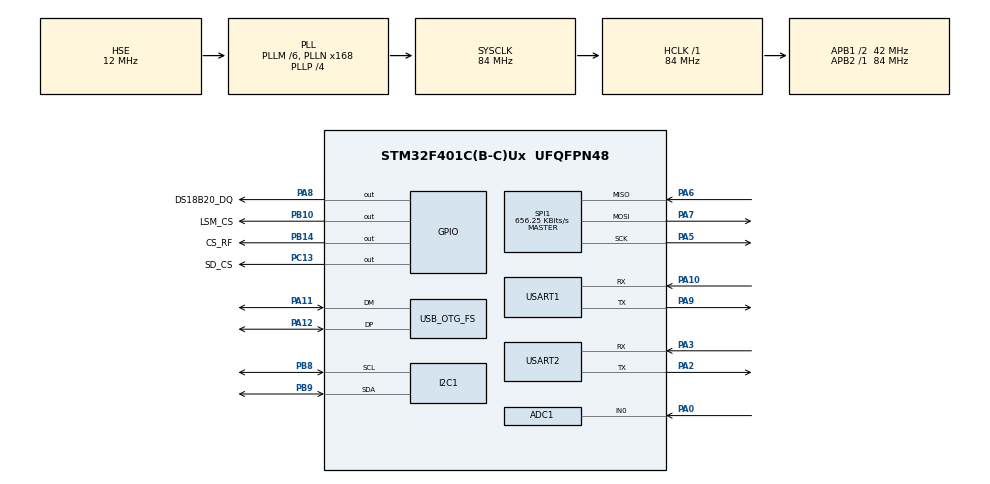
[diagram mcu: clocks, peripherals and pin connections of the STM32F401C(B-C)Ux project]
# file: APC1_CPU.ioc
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ADC1.Channel-0\#ChannelRegularConversion=ADC_CHANNEL_0
ADC1.ContinuousConvMode=DISABLE
ADC1.NbrOfConversionFlag=1
ADC1.Rank-0\#ChannelRegularConversion=1
ADC1.SamplingTime-0\#ChannelRegularConversion=ADC_SAMPLETIME_3CYCLES
ADC1.ScanConvMode=DISABLE
ADC1.master=1
FATFS._MAX_SS=4096
FATFS._USE_LFN=0
FREERTOS.Tasks01=defaultTask,24,128,StartDefaultTask,Default,NULL,Dynamic,NULL,NULL
FREERTOS.configUSE_NEWLIB_REENTRANT=1
Mcu.Family=STM32F4
Mcu.Name=STM32F401C(B-C)Ux
Mcu.Package=UFQFPN48
NVIC.OTG_FS_IRQn=true\:5\:0\:false\:false\:true\:true\:false\:true\:true
NVIC.PriorityGroup=NVIC_PRIORITYGROUP_4
NVIC.TIM1_UP_TIM10_IRQn=true\:15\:0\:false\:false\:true\:false\:false\:true\:true
NVIC.TimeBase=TIM1_UP_TIM10_IRQn
NVIC.TimeBaseIP=TIM10
PA0-WKUP.Signal=ADCx_IN0
PA10.Mode=Asynchronous
PA10.Signal=USART1_RX
PA11.Mode=Device_Only
PA11.Signal=USB_OTG_FS_DM
PA12.Mode=Device_Only
PA12.Signal=USB_OTG_FS_DP
PA13.Mode=Serial_Wire
PA13.Signal=SYS_JTMS-SWDIO
PA14.Mode=Serial_Wire
PA14.Signal=SYS_JTCK-SWCLK
PA2.Mode=Asynchronous
PA2.Signal=USART2_TX
PA3.Mode=Asynchronous
PA3.Signal=USART2_RX
PA5.Mode=Full_Duplex_Master
PA5.Signal=SPI1_SCK
PA6.Mode=Full_Duplex_Master
PA6.Signal=SPI1_MISO
PA7.Mode=Full_Duplex_Master
PA7.Signal=SPI1_MOSI
PA8.GPIO_Label=DS18B20_DQ
PA8.GPIO_ModeDefaultOutputPP=GPIO_MODE_OUTPUT_OD
PA8.GPIO_PuPd=GPIO_PULLUP
PA8.Signal=GPIO_Output
PA9.Mode=Asynchronous
PA9.Signal=USART1_TX
PB10.GPIO_Label=LSM_CS
PB10.GPIO_ModeDefaultOutputPP=GPIO_MODE_OUTPUT_OD
PB10.GPIO_PuPd=GPIO_PULLUP
PB10.PinState=GPIO_PIN_SET
PB10.Signal=GPIO_Output
PB14.GPIO_Label=CS_RF
PB14.GPIO_ModeDefaultOutputPP=GPIO_MODE_OUTPUT_OD
PB14.GPIO_PuPd=GPIO_PULLUP
PB14.PinState=GPIO_PIN_SET
PB14.Signal=GPIO_Output
PB8.GPIO_Pu=GPIO_PULLUP
PB8.Mode=I2C
PB8.Signal=I2C1_SCL
PB9.GPIO_Pu=GPIO_PULLUP
PB9.Mode=I2C
PB9.Signal=I2C1_SDA
PC13-ANTI_TAMP.GPIO_Label=SD_CS
PC13-ANTI_TAMP.Signal=GPIO_Output
PH0\ -\ OSC_IN.Mode=HSE-External-Oscillator
PH0\ -\ OSC_IN.Signal=RCC_OSC_IN
PH1\ -\ OSC_OUT.Mode=HSE-External-Oscillator
PH1\ -\ OSC_OUT.Signal=RCC_OSC_OUT
ProjectManager.HeapSize=0x200
ProjectManager.StackSize=0x400
ProjectManager.TargetToolchain=STM32CubeIDE
RCC.48MHZClocksFreq_Value=48000000
RCC.AHBFreq_Value=84000000
RCC.APB1CLKDivider=RCC_HCLK_DIV2
RCC.APB1Freq_Value=42000000
RCC.APB1TimFreq_Value=84000000
RCC.APB2Freq_Value=84000000
RCC.APB2TimFreq_Value=84000000
RCC.CortexFreq_Value=84000000
RCC.HCLKFreq_Value=84000000
RCC.HSE_VALUE=12000000
RCC.HSI_VALUE=16000000
RCC.LSE_VALUE=32768
RCC.PLLM=6
RCC.PLLN=168
RCC.PLLP=RCC_PLLP_DIV4
RCC.PLLQ=7
RCC.SYSCLKFreq_VALUE=84000000
RCC.SYSCLKSource=RCC_SYSCLKSOURCE_PLLCLK
RCC.VCOOutputFreq_Value=336000000
SH.ADCx_IN0.0=ADC1_IN0,IN0
SPI1.BaudRatePrescaler=SPI_BAUDRATEPRESCALER_128
SPI1.CalculateBaudRate=656.25 KBits/s
SPI1.Direction=SPI_DIRECTION_2LINES
SPI1.Mode=SPI_MODE_MASTER
SPI1.VirtualType=VM_MASTER
TIM11.ClockDivision=TIM_CLOCKDIVISION_DIV1
TIM11.Period=65535
TIM11.Prescaler=84-1
TIM2.Prescaler=840-1
USART1.VirtualMode=VM_ASYNC
USART2.VirtualMode=VM_ASYNC
USB_DEVICE.CLASS_NAME_FS=CDC
USB_DEVICE.VirtualMode=Cdc
USB_DEVICE.VirtualModeFS=Cdc_FS
USB_OTG_FS.VirtualMode=Device_Only
VP_FATFS_VS_Generic.Mode=User_defined
VP_FREERTOS_VS_CMSIS_V2.Mode=CMSIS_V2
VP_SYS_VS_tim10.Mode=TIM10
VP_TIM11_VS_ClockSourceINT.Mode=Enable_Timer
VP_TIM2_VS_ClockSourceINT.Mode=Internal
VP_USB_DEVICE_VS_USB_DEVICE_CDC_FS.Mode=CDC_FS
board=custom

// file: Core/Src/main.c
/* USER CODE BEGIN Header */
/**
  ******************************************************************************
  * @file           : main.c
  * @brief          : Main program body
  ******************************************************************************
  * @attention
  *
  * <h2><center>&copy; Copyright (c) 2021 STMicroelectronics.
  * All rights reserved.</center></h2>
  *
  * This software component is licensed by ST under BSD 3-Clause license,
  * the "License"; You may not use this file except in compliance with the
  * License. You may obtain a copy of the License at:
  *                        opensource.org/licenses/BSD-3-Clause
  *
  ******************************************************************************
  */
/* USER CODE END Header */
#include "main.h"
#include "cmsis_os.h"
#include "fatfs.h"
#include "usb_device.h"

/* USER CODE BEGIN Includes */
#include "DS18B20/DS18B20.h"
#include "LSM6DS3/LSM6DS3.h"
#include "usbd_cdc_if.h"
#include "MS5607/MS5607.h"
#include "MS_RADIO/MSR.h"
#include "fatfs_sd.h"
#include "string.h"
/* USER CODE END Includes */

/* USER CODE BEGIN PTD */
struct TelemetryStruct{
	float time;
	float Vbat;
	float DS18_temp;
	float MS56_temp;
	float MS56_pres;
	float AccX;
	float AccY;
	float AccZ;
	float AccAbs;
	float GyroX;
	float GyroY;
	float GyroZ;
	float GyroAbs;
	float MagX;
	float MagY;
	float MagZ;
	float Alttitude;
	float Longtitude;
	float Height;

};
/* USER CODE END PTD */

 ADC_HandleTypeDef hadc1;

I2C_HandleTypeDef hi2c1;

SPI_HandleTypeDef hspi1;

TIM_HandleTypeDef htim2;
TIM_HandleTypeDef htim11;

UART_HandleTypeDef huart1;
UART_HandleTypeDef huart2;

/* Definitions for defaultTask */
osThreadId_t defaultTaskHandle;
const osThreadAttr_t defaultTask_attributes = {
  .name = "defaultTask",
  .stack_size = 128 * 4,
  .priority = (osPriority_t) osPriorityNormal,
};
/* USER CODE BEGIN PV */
FATFS fs;
FIL fil;
FRESULT fresult;
char buffer[1024];

UINT br, bw;

FATFS *pfs;
DWORD fre_clust;
uint32_t total, free_space;

uint8_t photoNumber = 0;
/* USER CODE END PV */

void SystemClock_Config(void);
static void MX_GPIO_Init(void);
static void MX_TIM11_Init(void);
static void MX_ADC1_Init(void);
static void MX_SPI1_Init(void);
static void MX_TIM2_Init(void);
static void MX_I2C1_Init(void);
static void MX_USART1_UART_Init(void);
static void MX_USART2_UART_Init(void);
void StartDefaultTask(void *argument);

/* USER CODE BEGIN PFP */
float ADC_ConvertVBat(uint16_t VbatRaw);
uint32_t FloatToBin(float A);
/* USER CODE END PFP */

/* USER CODE BEGIN 0 */
void GetAllData(struct TelemetryStruct* TelemetryStruct){

/*TIME*/ 	TelemetryStruct->time = (float)__HAL_TIM_GET_COUNTER(&htim2);

/*VBAT*/	HAL_ADC_PollForConversion(&hadc1, 1);
/*VBAT*/	uint16_t VbatRaw = HAL_ADC_GetValue(&hadc1);
/*VBAT*/	HAL_ADC_Start(&hadc1);
/*VBAT*/	TelemetryStruct->Vbat = ADC_ConvertVBat(VbatRaw);

/*DS18*/	uint16_t DS18_Temp = 0;
/*DS18*/	DS18_GetData(DS18_SKIP_ROM, &DS18_Temp);
/*DS18*/	DS18_StartConv(DS18_SKIP_ROM);
/*DS18*/	TelemetryStruct->DS18_temp = DS18_TempConvert(DS18_Temp);

/*LSM6*/	int16_t LSM6DS3_AccRaw[3]; 	int16_t LSM6DS3_GyroRaw[3];
/*LSM6*/	float 	AccelG[4];			float 	GyroDS[4];
/*LSM6*/    LSM6DS3_GetData(	  LSM6DS3_AccRaw, LSM6DS3_GyroRaw);
/*LSM6*/	LSM6DS3_AccelConvert( LSM6DS3_AccRaw,  AccelG);
/*LSM6*/	LSM6DS3_GyroConvert(  LSM6DS3_GyroRaw, GyroDS);
/*LSM6*/	TelemetryStruct->AccX = AccelG[0];	TelemetryStruct->GyroX = GyroDS[0];
/*LSM6*/	TelemetryStruct->AccY = AccelG[1];	TelemetryStruct->GyroY = GyroDS[1];
/*LSM6*/	TelemetryStruct->AccZ = AccelG[2];	TelemetryStruct->GyroZ = GyroDS[2];
/*LSM6*/	TelemetryStruct->AccAbs = AccelG[3];TelemetryStruct->GyroAbs = GyroDS[3];

/*MS56*/	uint32_t MS56_Pres = 0;
/*MS56*/	MS5607_GetPres(&MS56_Pres);

}

void SendAllData(struct TelemetryStruct* TelemetryStruct){

	uint8_t USB_buffer[100];

	USB_buffer[0] = 0x0D;
	USB_buffer[1] = 'T';

	uint32_t Time = FloatToBin(TelemetryStruct->time);
	USB_buffer[2] = (uint8_t)(Time>>24);
	USB_buffer[3] = (uint8_t)(Time>>16);
	USB_buffer[4] = (uint8_t)(Time>>8);
	USB_buffer[5] = (uint8_t)(Time);

	uint32_t Vbat = FloatToBin(TelemetryStruct->Vbat);
	USB_buffer[6] = (uint8_t)(Vbat>>24);
	USB_buffer[7] = (uint8_t)(Vbat>>16);
	USB_buffer[8] = (uint8_t)(Vbat>>8);
	USB_buffer[9] = (uint8_t)(Vbat);

	uint32_t DS18_temp = FloatToBin(TelemetryStruct->DS18_temp);
	USB_buffer[10] = (uint8_t)(DS18_temp>>24);
	USB_buffer[11] = (uint8_t)(DS18_temp>>16);
	USB_buffer[12] = (uint8_t)(DS18_temp>>8);
	USB_buffer[13] = (uint8_t)(DS18_temp);

	uint32_t AccelAbs = FloatToBin(TelemetryStruct->AccAbs);
	USB_buffer[14] = (uint8_t)(AccelAbs>>24);
	USB_buffer[15] = (uint8_t)(AccelAbs>>16);
	USB_buffer[16] = (uint8_t)(AccelAbs>>8);
	USB_buffer[17] = (uint8_t)(AccelAbs);

	uint32_t AccelX = FloatToBin(TelemetryStruct->AccX);
	USB_buffer[18] = (uint8_t)(AccelX>>24);
	USB_buffer[19] = (uint8_t)(AccelX>>16);
	USB_buffer[20] = (uint8_t)(AccelX>>8);
	USB_buffer[21] = (uint8_t)(AccelX);
	uint32_t AccelY = FloatToBin(TelemetryStruct->AccY);
	USB_buffer[22] = (uint8_t)(AccelY>>24);
	USB_buffer[23] = (uint8_t)(AccelY>>16);
	USB_buffer[24] = (uint8_t)(AccelY>>8);
	USB_buffer[25] = (uint8_t)(AccelY);
	uint32_t AccelZ = FloatToBin(TelemetryStruct->AccZ);
	USB_buffer[26] = (uint8_t)(AccelZ>>24);
	USB_buffer[27] = (uint8_t)(AccelZ>>16);
	USB_buffer[28] = (uint8_t)(AccelZ>>8);
	USB_buffer[29] = (uint8_t)(AccelZ);

	uint32_t GyroAbs = FloatToBin(TelemetryStruct->GyroAbs);
	USB_buffer[30] = (uint8_t)(GyroAbs>>24);
	USB_buffer[31] = (uint8_t)(GyroAbs>>16);
	USB_buffer[32] = (uint8_t)(GyroAbs>>8);
	USB_buffer[33] = (uint8_t)(GyroAbs);

	CDC_Transmit_FS(USB_buffer, 34);
	HAL_UART_Transmit(&huart2, USB_buffer, 34, 1000);
}

void WriteOnSD(int n, uint8_t* Data, uint8_t Lth)
{
	UINT bw;
	char fname[35];
	sprintf(&fname[0],"%d.jpeg", n);
	  fresult = f_open(&fil, &fname[0], FA_OPEN_ALWAYS | FA_READ | FA_WRITE);

	  fresult = f_write(&fil, Data, Lth, &bw);

	  fresult = f_close(&fil);
}

/* USER CODE END 0 */

int main(void)
{

  /* MCU Configuration--------------------------------------------------------*/

  /* Reset of all peripherals, Initializes the Flash interface and the Systick. */
  HAL_Init();

  /* Configure the system clock */
  SystemClock_Config();

  /* Initialize all configured peripherals */
  MX_GPIO_Init();
  MX_TIM11_Init();
  MX_ADC1_Init();
  MX_SPI1_Init();
  MX_TIM2_Init();
  MX_I2C1_Init();
  MX_FATFS_Init();
  MX_USART1_UART_Init();
  MX_USART2_UART_Init();
  /* USER CODE BEGIN 2 */

  fresult = f_mount(&fs, "", 0);
	uint8_t Data[4] = { 48, 49, 50, 51 };
	UINT bw;
	uint8_t n= 0;
	char fname[35];
	sprintf(&fname[0],"%d.jpeg", n++);
	fresult = f_open(&fil, &fname[0], FA_OPEN_APPEND | FA_OPEN_ALWAYS | FA_READ | FA_WRITE);

	fresult = f_write(&fil, Data, 4, &bw);

	fresult = f_close(&fil);

  /* SPI Chip Select PullUp section */
  //LSM6DS3_CS_Prepare();
 // MSR_CS_Prepare();

  /*Initialization section*/
  //DS18_Init(DS18_SKIP_ROM);
  //MS5607_Init();
  //LSM6DS3_Init();
 // MSR_Init();
 // HAL_ADC_Start(&hadc1);
 // HAL_TIM_Base_Start(&htim2);

//HAL_ADC_Calibration
//uint32_t temp, pres;
// MS5607_GetData(&temp, &pres);

  struct TelemetryStruct TelemetryStruct;

  /* USER CODE END 2 */

  /* Init scheduler */
  osKernelInitialize();

  /* Create the thread(s) */
  /* creation of defaultTask */
  defaultTaskHandle = osThreadNew(StartDefaultTask, NULL, &defaultTask_attributes);

  /* Start scheduler */
  osKernelStart();

  /* We should never get here as control is now taken by the scheduler */
  /* Infinite loop */
  /* USER CODE BEGIN WHILE */
  while (1)
  {
	  //uint8_t data[32] = "Hello World!\r\n";
	  //MSR_SendData(data);

	  GetAllData(&TelemetryStruct);
	  SendAllData(&TelemetryStruct);

	  HAL_GPIO_TogglePin(SD_CS_GPIO_Port, SD_CS_Pin);

	  HAL_Delay(100);
    /* USER CODE END WHILE */

  }
}

void SystemClock_Config(void)
{
  RCC_OscInitTypeDef RCC_OscInitStruct = {0};
  RCC_ClkInitTypeDef RCC_ClkInitStruct = {0};

  /** Configure the main internal regulator output voltage
  */
  __HAL_RCC_PWR_CLK_ENABLE();
  __HAL_PWR_VOLTAGESCALING_CONFIG(PWR_REGULATOR_VOLTAGE_SCALE2);

  /** Initializes the RCC Oscillators according to the specified parameters
  * in the RCC_OscInitTypeDef structure.
  */
  RCC_OscInitStruct.OscillatorType = RCC_OSCILLATORTYPE_HSE;
  RCC_OscInitStruct.HSEState = RCC_HSE_ON;
  RCC_OscInitStruct.PLL.PLLState = RCC_PLL_ON;
  RCC_OscInitStruct.PLL.PLLSource = RCC_PLLSOURCE_HSE;
  RCC_OscInitStruct.PLL.PLLM = 6;
  RCC_OscInitStruct.PLL.PLLN = 168;
  RCC_OscInitStruct.PLL.PLLP = RCC_PLLP_DIV4;
  RCC_OscInitStruct.PLL.PLLQ = 7;
  if (HAL_RCC_OscConfig(&RCC_OscInitStruct) != HAL_OK)
  {
    Error_Handler();
  }

  /** Initializes the CPU, AHB and APB buses clocks
  */
  RCC_ClkInitStruct.ClockType = RCC_CLOCKTYPE_HCLK|RCC_CLOCKTYPE_SYSCLK
                              |RCC_CLOCKTYPE_PCLK1|RCC_CLOCKTYPE_PCLK2;
  RCC_ClkInitStruct.SYSCLKSource = RCC_SYSCLKSOURCE_PLLCLK;
  RCC_ClkInitStruct.AHBCLKDivider = RCC_SYSCLK_DIV1;
  RCC_ClkInitStruct.APB1CLKDivider = RCC_HCLK_DIV2;
  RCC_ClkInitStruct.APB2CLKDivider = RCC_HCLK_DIV1;

  if (HAL_RCC_ClockConfig(&RCC_ClkInitStruct, FLASH_LATENCY_2) != HAL_OK)
  {
    Error_Handler();
  }
}

static void MX_ADC1_Init(void)
{

  ADC_ChannelConfTypeDef sConfig = {0};

  /** Configure the global features of the ADC (Clock, Resolution, Data Alignment and number of conversion)
  */
  hadc1.Instance = ADC1;
  hadc1.Init.ClockPrescaler = ADC_CLOCK_SYNC_PCLK_DIV4;
  hadc1.Init.Resolution = ADC_RESOLUTION_12B;
  hadc1.Init.ScanConvMode = DISABLE;
  hadc1.Init.ContinuousConvMode = DISABLE;
  hadc1.Init.DiscontinuousConvMode = DISABLE;
  hadc1.Init.ExternalTrigConvEdge = ADC_EXTERNALTRIGCONVEDGE_NONE;
  hadc1.Init.ExternalTrigConv = ADC_SOFTWARE_START;
  hadc1.Init.DataAlign = ADC_DATAALIGN_RIGHT;
  hadc1.Init.NbrOfConversion = 1;
  hadc1.Init.DMAContinuousRequests = DISABLE;
  hadc1.Init.EOCSelection = ADC_EOC_SINGLE_CONV;
  if (HAL_ADC_Init(&hadc1) != HAL_OK)
  {
    Error_Handler();
  }

  /** Configure for the selected ADC regular channel its corresponding rank in the sequencer and its sample time.
  */
  sConfig.Channel = ADC_CHANNEL_0;
  sConfig.Rank = 1;
  sConfig.SamplingTime = ADC_SAMPLETIME_3CYCLES;
  if (HAL_ADC_ConfigChannel(&hadc1, &sConfig) != HAL_OK)
  {
    Error_Handler();
  }

}

static void MX_I2C1_Init(void)
{

  hi2c1.Instance = I2C1;
  hi2c1.Init.ClockSpeed = 100000;
  hi2c1.Init.DutyCycle = I2C_DUTYCYCLE_2;
  hi2c1.Init.OwnAddress1 = 0;
  hi2c1.Init.AddressingMode = I2C_ADDRESSINGMODE_7BIT;
  hi2c1.Init.DualAddressMode = I2C_DUALADDRESS_DISABLE;
  hi2c1.Init.OwnAddress2 = 0;
  hi2c1.Init.GeneralCallMode = I2C_GENERALCALL_DISABLE;
  hi2c1.Init.NoStretchMode = I2C_NOSTRETCH_DISABLE;
  if (HAL_I2C_Init(&hi2c1) != HAL_OK)
  {
    Error_Handler();
  }

}

static void MX_SPI1_Init(void)
{

  /* SPI1 parameter configuration*/
  hspi1.Instance = SPI1;
  hspi1.Init.Mode = SPI_MODE_MASTER;
  hspi1.Init.Direction = SPI_DIRECTION_2LINES;
  hspi1.Init.DataSize = SPI_DATASIZE_8BIT;
  hspi1.Init.CLKPolarity = SPI_POLARITY_LOW;
  hspi1.Init.CLKPhase = SPI_PHASE_1EDGE;
  hspi1.Init.NSS = SPI_NSS_SOFT;
  hspi1.Init.BaudRatePrescaler = SPI_BAUDRATEPRESCALER_128;
  hspi1.Init.FirstBit = SPI_FIRSTBIT_MSB;
  hspi1.Init.TIMode = SPI_TIMODE_DISABLE;
  hspi1.Init.CRCCalculation = SPI_CRCCALCULATION_DISABLE;
  hspi1.Init.CRCPolynomial = 10;
  if (HAL_SPI_Init(&hspi1) != HAL_OK)
  {
    Error_Handler();
  }

}

static void MX_TIM2_Init(void)
{

  TIM_ClockConfigTypeDef sClockSourceConfig = {0};
  TIM_MasterConfigTypeDef sMasterConfig = {0};

  htim2.Instance = TIM2;
  htim2.Init.Prescaler = 840-1;
  htim2.Init.CounterMode = TIM_COUNTERMODE_UP;
  htim2.Init.Period = 4294967295;
  htim2.Init.ClockDivision = TIM_CLOCKDIVISION_DIV1;
  htim2.Init.AutoReloadPreload = TIM_AUTORELOAD_PRELOAD_DISABLE;
  if (HAL_TIM_Base_Init(&htim2) != HAL_OK)
  {
    Error_Handler();
  }
  sClockSourceConfig.ClockSource = TIM_CLOCKSOURCE_INTERNAL;
  if (HAL_TIM_ConfigClockSource(&htim2, &sClockSourceConfig) != HAL_OK)
  {
    Error_Handler();
  }
  sMasterConfig.MasterOutputTrigger = TIM_TRGO_RESET;
  sMasterConfig.MasterSlaveMode = TIM_MASTERSLAVEMODE_DISABLE;
  if (HAL_TIMEx_MasterConfigSynchronization(&htim2, &sMasterConfig) != HAL_OK)
  {
    Error_Handler();
  }

}

static void MX_TIM11_Init(void)
{

  htim11.Instance = TIM11;
  htim11.Init.Prescaler = 84-1;
  htim11.Init.CounterMode = TIM_COUNTERMODE_UP;
  htim11.Init.Period = 65535;
  htim11.Init.ClockDivision = TIM_CLOCKDIVISION_DIV1;
  htim11.Init.AutoReloadPreload = TIM_AUTORELOAD_PRELOAD_DISABLE;
  if (HAL_TIM_Base_Init(&htim11) != HAL_OK)
  {
    Error_Handler();
  }

}

static void MX_USART1_UART_Init(void)
{

  huart1.Instance = USART1;
  huart1.Init.BaudRate = 115200;
  huart1.Init.WordLength = UART_WORDLENGTH_8B;
  huart1.Init.StopBits = UART_STOPBITS_1;
  huart1.Init.Parity = UART_PARITY_NONE;
  huart1.Init.Mode = UART_MODE_TX_RX;
  huart1.Init.HwFlowCtl = UART_HWCONTROL_NONE;
  huart1.Init.OverSampling = UART_OVERSAMPLING_16;
  if (HAL_UART_Init(&huart1) != HAL_OK)
  {
    Error_Handler();
  }

}

static void MX_USART2_UART_Init(void)
{

  huart2.Instance = USART2;
  huart2.Init.BaudRate = 115200;
  huart2.Init.WordLength = UART_WORDLENGTH_8B;
  huart2.Init.StopBits = UART_STOPBITS_1;
  huart2.Init.Parity = UART_PARITY_NONE;
  huart2.Init.Mode = UART_MODE_TX_RX;
  huart2.Init.HwFlowCtl = UART_HWCONTROL_NONE;
  huart2.Init.OverSampling = UART_OVERSAMPLING_16;
  if (HAL_UART_Init(&huart2) != HAL_OK)
  {
    Error_Handler();
  }

}

static void MX_GPIO_Init(void)
{
  GPIO_InitTypeDef GPIO_InitStruct = {0};

  /* GPIO Ports Clock Enable */
  __HAL_RCC_GPIOC_CLK_ENABLE();
  __HAL_RCC_GPIOH_CLK_ENABLE();
  __HAL_RCC_GPIOA_CLK_ENABLE();
  __HAL_RCC_GPIOB_CLK_ENABLE();

  /*Configure GPIO pin Output Level */
  HAL_GPIO_WritePin(SD_CS_GPIO_Port, SD_CS_Pin, GPIO_PIN_RESET);

  /*Configure GPIO pin Output Level */
  HAL_GPIO_WritePin(GPIOB, LSM_CS_Pin|CS_RF_Pin, GPIO_PIN_SET);

  /*Configure GPIO pin Output Level */
  HAL_GPIO_WritePin(DS18B20_DQ_GPIO_Port, DS18B20_DQ_Pin, GPIO_PIN_RESET);

  /*Configure GPIO pin : SD_CS_Pin */
  GPIO_InitStruct.Pin = SD_CS_Pin;
  GPIO_InitStruct.Mode = GPIO_MODE_OUTPUT_PP;
  GPIO_InitStruct.Pull = GPIO_NOPULL;
  GPIO_InitStruct.Speed = GPIO_SPEED_FREQ_LOW;
  HAL_GPIO_Init(SD_CS_GPIO_Port, &GPIO_InitStruct);

  /*Configure GPIO pins : LSM_CS_Pin CS_RF_Pin */
  GPIO_InitStruct.Pin = LSM_CS_Pin|CS_RF_Pin;
  GPIO_InitStruct.Mode = GPIO_MODE_OUTPUT_OD;
  GPIO_InitStruct.Pull = GPIO_PULLUP;
  GPIO_InitStruct.Speed = GPIO_SPEED_FREQ_LOW;
  HAL_GPIO_Init(GPIOB, &GPIO_InitStruct);

  /*Configure GPIO pin : DS18B20_DQ_Pin */
  GPIO_InitStruct.Pin = DS18B20_DQ_Pin;
  GPIO_InitStruct.Mode = GPIO_MODE_OUTPUT_OD;
  GPIO_InitStruct.Pull = GPIO_PULLUP;
  GPIO_InitStruct.Speed = GPIO_SPEED_FREQ_LOW;
  HAL_GPIO_Init(DS18B20_DQ_GPIO_Port, &GPIO_InitStruct);

}

/* USER CODE BEGIN 4 */

uint32_t FloatToBin(float A)
{

	float* pA = &A;
	uint32_t* pB = (uint32_t*)pA;
	uint32_t B = *pB;
	return B;
}

float ADC_ConvertVBat(uint16_t VbatRaw)
{
	return 2 * (VbatRaw * 3.3f / 4096.0f);
}

/* USER CODE END 4 */

void StartDefaultTask(void *argument)
{
  /* init code for USB_DEVICE */
  MX_USB_DEVICE_Init();
  /* USER CODE BEGIN 5 */
  /* Infinite loop */
  for(;;)
  {
	/*uint8_t Data[4] = { 48, 49, 50, 51 };
	UINT bw;
	uint8_t n= 0;
	char fname[35];
	sprintf(&fname[0],"%d.jpeg", n++);
	fresult = f_open(&fil, &fname[0], FA_OPEN_APPEND | FA_OPEN_ALWAYS | FA_READ | FA_WRITE);

	fresult = f_write(&fil, Data, 4, &bw);

	fresult = f_close(&fil);*/
	  HAL_GPIO_TogglePin(SD_CS_GPIO_Port, SD_CS_Pin);
	osDelay(1000);
  }
  /* USER CODE END 5 */
}

void HAL_TIM_PeriodElapsedCallback(TIM_HandleTypeDef *htim)
{
  if (htim->Instance == TIM10) {
    HAL_IncTick();
  }
}

void Error_Handler(void)
{
  __disable_irq();
  while (1)
  {
  }
}
